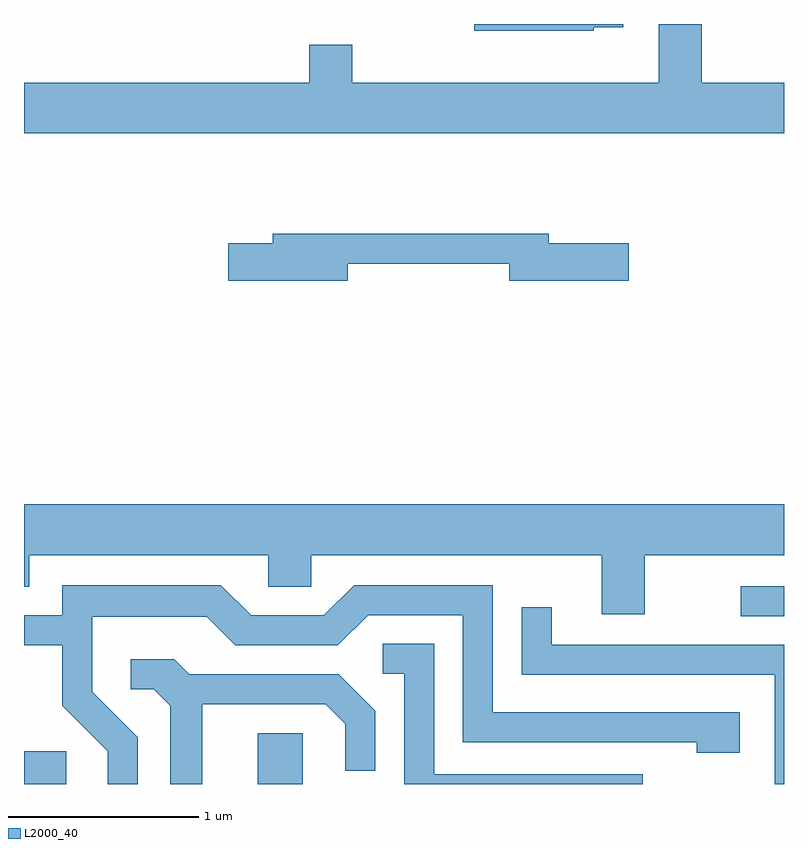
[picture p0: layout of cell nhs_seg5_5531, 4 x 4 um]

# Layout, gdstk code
import gdstk
lib = gdstk.Library(unit=1e-6, precision=1e-09)
def R(c, l, rs):  # rectangles x0, y0, x1, y1
    for r in rs: c.add(gdstk.rectangle(r[:2], r[2:], *l))
def P(c, l, *ps):  # polygons
    for p in ps: c.add(gdstk.Polygon(p, *l))
L2000_40 = (2000, 40)

nhs_seg5_5531 = lib.new_cell('nhs_seg5_5531')
R(nhs_seg5_5531, L2000_40, [(349.611,1420.072,349.834,1420.244), (350.841,1420.072,351.079,1420.339), (353.383,1420.956,353.611,1421.114)])
P(nhs_seg5_5531, L2000_40, [(352.609,1424.056),(352.764,1424.056),(352.764,1424.072),(351.981,1424.072),(351.981,1424.036),(352.609,1424.036)],
  [(353.611,1423.764),(353.179,1423.764),(353.179,1424.072),(352.951,1424.072),(352.951,1423.764),(351.339,1423.764),(351.339,1423.964),(351.111,1423.964),(351.111,1423.764),(349.611,1423.764),(349.611,1423.496),(353.611,1423.496)],
  [(351.314,1422.811),(352.166,1422.811),(352.166,1422.721),(352.794,1422.721),(352.794,1422.919),(352.374,1422.919),(352.374,1422.969),(350.921,1422.969),(350.921,1422.919),(350.686,1422.919),(350.686,1422.721),(351.314,1422.721)],
  [(352.879,1421.276),(353.611,1421.276),(353.611,1421.544),(349.611,1421.544),(349.611,1421.111),(349.639,1421.111),(349.639,1421.276),(350.896,1421.276),(350.896,1421.111),(351.124,1421.111),(351.124,1421.276),(352.651,1421.276),(352.651,1420.966),(352.879,1420.966)],
  [(350.209,1420.317),(349.969,1420.557),(349.969,1420.951),(350.574,1420.951),(350.724,1420.801),(351.262,1420.801),(351.422,1420.961),(351.921,1420.961),(351.921,1420.291),(353.151,1420.291),(353.151,1420.236),(353.379,1420.236),(353.379,1420.449),(352.079,1420.449),(352.079,1421.119),(351.349,1421.119),(351.189,1420.959),(350.807,1420.959),(350.647,1421.119),(349.811,1421.119),(349.811,1420.959),(349.611,1420.959),(349.611,1420.801),(349.811,1420.801),(349.811,1420.484),(350.051,1420.244),(350.051,1420.072),(350.209,1420.072)],
  [(353.611,1420.804),(352.389,1420.804),(352.389,1421.003),(352.231,1421.003),(352.231,1420.646),(353.561,1420.646),(353.561,1420.072),(353.611,1420.072)],
  [(352.868,1420.124),(351.769,1420.124),(351.769,1420.809),(351.498,1420.809),(351.498,1420.651),(351.611,1420.651),(351.611,1420.072),(352.868,1420.072)],
  [(350.549,1420.491),(351.199,1420.491),(351.301,1420.389),(351.301,1420.143),(351.459,1420.143),(351.459,1420.457),(351.267,1420.649),(350.482,1420.649),(350.402,1420.729),(350.173,1420.729),(350.173,1420.571),(350.294,1420.571),(350.381,1420.484),(350.381,1420.072),(350.549,1420.072)])

lib.write_gds('nhs_seg5_5531.gds')
